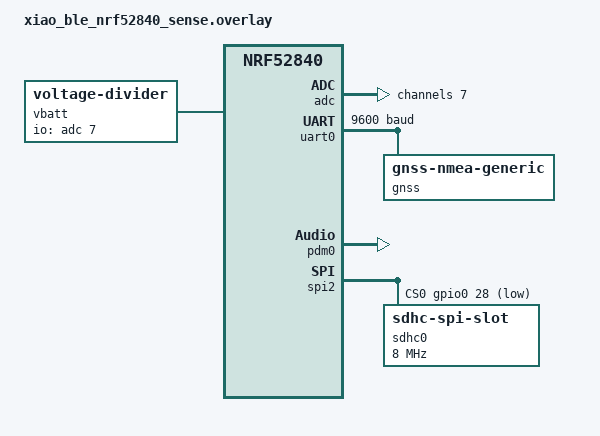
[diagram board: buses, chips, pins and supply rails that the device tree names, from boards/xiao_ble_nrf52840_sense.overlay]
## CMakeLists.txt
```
cmake_minimum_required(VERSION 3.20.0)
find_package(Zephyr REQUIRED HINTS $ENV{ZEPHYR_BASE})
project(comotion_tracker)

target_sources(app PRIVATE
  src/main.c
  src/gps.c
  src/audio.c
  src/sdcard.c
  src/battery.c
  src/intensity.c
  src/impact.c
  src/ble_adv.c
  src/device_id.c
)
```

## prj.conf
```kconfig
# CoMotion Tracker - Full Integrated Firmware (v2.0)
CONFIG_GPIO=y

# Logging
CONFIG_LOG=y
CONFIG_LOG_DEFAULT_LEVEL=3

# FPU (nRF52840 Cortex-M4F hardware FPU)
CONFIG_FPU=y

# IMU (LSM6DS3TR-C on I2C0, uses st,lsm6dsl driver)
CONFIG_I2C=y
CONFIG_SENSOR=y
CONFIG_LSM6DSL=y

# Float formatting for printk/snprintf (CSV output at 104 Hz)
CONFIG_CBPRINTF_FP_SUPPORT=y

# BLE
CONFIG_BT=y
CONFIG_BT_PERIPHERAL=y
CONFIG_BT_DEVICE_NAME="CoMotion"
CONFIG_BT_MAX_CONN=1

# Nordic UART Service
CONFIG_BT_NUS=y

# GPS (ATGM332D on UART0 via Zephyr GNSS framework)
CONFIG_SERIAL=y
CONFIG_GNSS=y

# PDM Microphone (onboard MSM261D3526HICPM-C via Zephyr DMIC API)
CONFIG_AUDIO=y
CONFIG_AUDIO_DMIC=y

# SD Card (external SPI, FAT filesystem)
CONFIG_SPI=y
CONFIG_DISK_ACCESS=y
CONFIG_DISK_DRIVER_SDMMC=y
CONFIG_FILE_SYSTEM=y
CONFIG_FAT_FILESYSTEM_ELM=y
CONFIG_FS_FATFS_LFN=y
CONFIG_FS_FATFS_LFN_MODE_HEAP=y

# Battery voltage monitor (voltage-divider sensor on AIN7)
CONFIG_ADC=y

# Stack sizes (main runs 104 Hz with snprintf CSV formatting)
CONFIG_MAIN_STACK_SIZE=8192

# Ring buffer for SD card logging
CONFIG_RING_BUFFER=y

# === BLE Range Optimization ===

# TX Power: +8 dBm (maximum for nRF52840, ~2.5x range improvement)
CONFIG_BT_CTLR_TX_PWR_PLUS_8=y

# Coded PHY (Long Range): ~4x range via forward error correction
CONFIG_BT_CTLR_PHY_CODED=y
CONFIG_BT_USER_PHY_UPDATE=y

# Extended advertising: dual adv sets (Coded PHY broadcast + 1M connectable)
CONFIG_BT_EXT_ADV=y
CONFIG_BT_CTLR_ADV_EXT=y
CONFIG_BT_EXT_ADV_MAX_ADV_SET=2
CONFIG_BT_CTLR_ADV_SET=2
CONFIG_BT_CTLR_ADV_DATA_LEN_MAX=64

# Data Length Extension: larger PDUs = better throughput per connection event
CONFIG_BT_CTLR_DATA_LENGTH_MAX=251
CONFIG_BT_BUF_ACL_TX_SIZE=251
CONFIG_BT_BUF_ACL_RX_SIZE=251
CONFIG_BT_L2CAP_TX_MTU=247
```

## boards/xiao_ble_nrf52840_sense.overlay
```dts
/* CoMotion Tracker — Full Integrated Firmware */

/* Battery voltage divider: VBATT → 1MΩ → P0.31 (AIN7) → 510KΩ → P0.14 */
/ {
	vbatt: vbatt {
		compatible = "voltage-divider";
		io-channels = <&adc 7>;
		output-ohms = <510000>;
		full-ohms = <(1000000 + 510000)>;
	};
};

&adc {
	#address-cells = <1>;
	#size-cells = <0>;

	channel@7 {
		reg = <7>;
		zephyr,gain = "ADC_GAIN_1_6";
		zephyr,reference = "ADC_REF_INTERNAL";
		zephyr,acquisition-time = <ADC_ACQ_TIME_DEFAULT>;
		zephyr,input-positive = <NRF_SAADC_AIN7>;
		zephyr,resolution = <12>;
	};
};

/* ATGM332D GPS on UART0 (P1.11 TX / P1.12 RX — already assigned by board) */
&uart0 {
	current-speed = <9600>;

	gnss: gnss-nmea-generic {
		compatible = "gnss-nmea-generic";
	};
};

/* PDM microphone: enable power regulator (P1.10) at boot */
/ {
	msm261d3526hicpm-c-en {
		regulator-boot-on;
	};
};

/* PDM microphone: enable peripheral (pinctrl already in board DTS) */
dmic_dev: &pdm0 {
	status = "okay";
};

/* SD Card on SPI2 (SCK=P1.13, MOSI=P1.15, MISO=P1.14), CS=P0.28 (XIAO D2) */
&spi2 {
	cs-gpios = <&gpio0 28 GPIO_ACTIVE_LOW>;

	sdhc0: sdhc@0 {
		compatible = "zephyr,sdhc-spi-slot";
		reg = <0>;
		status = "okay";
		spi-max-frequency = <8000000>;
		mmc {
			compatible = "zephyr,sdmmc-disk";
			disk-name = "SD";
			status = "okay";
		};
	};
};
```

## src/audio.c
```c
/*
 * CoMotion Tracker — Audio Processing Module
 *
 * Dedicated thread captures PDM audio in burst mode at ~10 Hz:
 *   1. Start PDM → read one 100ms block → stop PDM
 *   2. Compute RMS, peak, zero-crossing rate
 *   3. Adapt audio baseline (slow EMA of RMS, paused during impact)
 *   4. Feed impact detector (dual-trigger confirmation)
 *
 * Hardware: MSM261D3526HICPM-C on XIAO BLE Sense
 *   CLK = P1.00, DIN = P0.16, PWR = P1.10 (regulator-boot-on)
 *
 * Uses Zephyr DMIC API backed by nrfx PDM driver.
 */

#include <zephyr/kernel.h>
#include <zephyr/audio/dmic.h>
#include <zephyr/logging/log.h>
#include <math.h>

#include "audio.h"
#include "impact.h"

LOG_MODULE_REGISTER(audio, CONFIG_LOG_DEFAULT_LEVEL);

/* ─── PDM Configuration ─── */
#define SAMPLE_RATE      16000
#define SAMPLE_BITS      16
#define BYTES_PER_SAMPLE sizeof(int16_t)
#define NUM_CHANNELS     1

/* 100ms block = 1600 samples */
#define BLOCK_SIZE       (BYTES_PER_SAMPLE * (SAMPLE_RATE / 10) * NUM_CHANNELS)
#define BLOCK_COUNT      4

K_MEM_SLAB_DEFINE_STATIC(audio_mem_slab, BLOCK_SIZE, BLOCK_COUNT, 4);

/* ─── Baseline adaptation (spec section 3.3) ─── */
#define BASELINE_ALPHA   0.005f   /* slow adaptation rate */
#define BASELINE_INIT    500.0f   /* initial baseline RMS */

/* ─── Thread ─── */
#define AUDIO_STACK_SIZE 2048
#define AUDIO_PRIORITY   7        /* below main (which should be higher prio) */

K_THREAD_STACK_DEFINE(audio_stack, AUDIO_STACK_SIZE);
static struct k_thread audio_thread_data;

/* ─── State ─── */
static const struct device *dmic_dev;
static bool dmic_ready;

/* Latest audio data — written by audio thread, read by main thread */
static volatile struct audio_data latest_data;
static volatile float audio_baseline = BASELINE_INIT;

/* ─── PDM burst-mode helpers ─── */

static int pdm_configure(void)
{
	struct pcm_stream_cfg stream = {
		.pcm_rate   = SAMPLE_RATE,
		.pcm_width  = SAMPLE_BITS,
		.block_size = BLOCK_SIZE,
		.mem_slab   = &audio_mem_slab,
	};

	struct dmic_cfg cfg = {
		.io = {
			.min_pdm_clk_freq = 1000000,
			.max_pdm_clk_freq = 3500000,
			.min_pdm_clk_dc   = 40,
			.max_pdm_clk_dc   = 60,
		},
		.streams = &stream,
		.channel = {
			.req_num_streams = 1,
			.req_num_chan    = 1,
			.req_chan_map_lo =
				dmic_build_channel_map(0, 0, PDM_CHAN_LEFT),
			.req_chan_map_hi = 0,
		},
	};

	return dmic_configure(dmic_dev, &cfg);
}

/**
 * Burst-read one 100ms PDM block.
 * Returns a pointer to the sample buffer (caller must free to slab).
 */
static int pdm_burst_read(void **buf_out, uint32_t *size_out)
{
	int ret;

	/* Reconfigure before each burst (resets driver state cleanly) */
	ret = pdm_configure();
	if (ret < 0) {
		return ret;
	}

	/* Start capture */
	ret = dmic_trigger(dmic_dev, DMIC_TRIGGER_START);
	if (ret < 0) {
		return ret;
	}

	/* Read one block (~100ms) */
	ret = dmic_read(dmic_dev, 0, buf_out, size_out, 200);
	if (ret < 0) {
		dmic_trigger(dmic_dev, DMIC_TRIGGER_STOP);
		return ret;
	}

	/* Stop capture */
	dmic_trigger(dmic_dev, DMIC_TRIGGER_STOP);

	/* Drain any remaining queued buffers */
	void *extra;
	uint32_t extra_size;

	while (dmic_read(dmic_dev, 0, &extra, &extra_size, 0) == 0) {
		k_mem_slab_free(&audio_mem_slab, extra);
	}

	return 0;
}

/* ─── Audio processing ─── */

static void process_audio_block(int16_t *samples, uint32_t num_samples)
{
	int64_t sum_sq = 0;
	int16_t peak = 0;
	uint16_t zcr = 0;
	bool prev_positive = (samples[0] >= 0);

	for (uint32_t i = 0; i < num_samples; i++) {
		int16_t s = samples[i];
		int16_t abs_s = (s < 0) ? -s : s;

		sum_sq += (int32_t)s * (int32_t)s;

		if (abs_s > peak) {
			peak = abs_s;
		}

		/* Zero-crossing detection */
		bool positive = (s >= 0);

		if (i > 0 && positive != prev_positive) {
			zcr++;
		}
		prev_positive = positive;
	}

	/* RMS */
	float rms = sqrtf((float)sum_sq / (float)num_samples);

	/* Update latest data (atomic-ish — single struct write) */
	latest_data.rms = rms;
	latest_data.peak = (uint16_t)peak;
	latest_data.zcr = zcr;

	/* Audio impact check and baseline adaptation (spec section 3.2-3.3) */
	float baseline = audio_baseline;
	bool above_relative = ((float)peak > baseline * 8.0f);
	bool above_absolute = (peak > 3000);
	bool audio_impact = above_relative && above_absolute;

	/* Baseline adapts only when NOT in an impact event */
	if (!audio_impact) {
		audio_baseline = BASELINE_ALPHA * rms
			       + (1.0f - BASELINE_ALPHA) * baseline;
	}

	/* Feed the dual-trigger impact detector */
	impact_feed_audio((uint16_t)peak, baseline);
}

/* ─── Audio thread ─── */

static void audio_thread_fn(void *p1, void *p2, void *p3)
{
	ARG_UNUSED(p1);
	ARG_UNUSED(p2);
	ARG_UNUSED(p3);

	LOG_INF("Audio thread started (10 Hz burst-mode)");

	while (1) {
		if (!dmic_ready) {
			k_msleep(1000);
			continue;
		}

		void *buffer;
		uint32_t size;
		int ret = pdm_burst_read(&buffer, &size);

		if (ret == 0) {
			int16_t *samples = (int16_t *)buffer;
			uint32_t num_samples = size / BYTES_PER_SAMPLE;

			process_audio_block(samples, num_samples);
			k_mem_slab_free(&audio_mem_slab, buffer);
		} else {
			LOG_WRN("PDM burst read failed: %d", ret);
			k_msleep(100); /* back off on error */
		}

		/*
		 * No explicit sleep needed — the PDM burst read blocks
		 * for ~100ms, naturally pacing the thread at ~10 Hz.
		 */
	}
}

/* ─── Public API ─── */

int audio_init(void)
{
	dmic_dev = DEVICE_DT_GET(DT_NODELABEL(dmic_dev));
	if (!device_is_ready(dmic_dev)) {
		LOG_ERR("DMIC device not ready");
		return -ENODEV;
	}

	int ret = pdm_configure();

	if (ret < 0) {
		LOG_ERR("DMIC configure failed: %d", ret);
		return ret;
	}

	dmic_ready = true;
	LOG_INF("PDM mic ready: %u Hz %u-bit mono (burst mode)", SAMPLE_RATE,
		SAMPLE_BITS);

	/* Start the audio processing thread */
	k_thread_create(&audio_thread_data, audio_stack,
			K_THREAD_STACK_SIZEOF(audio_stack),
			audio_thread_fn, NULL, NULL, NULL,
			AUDIO_PRIORITY, 0, K_NO_WAIT);
	k_thread_name_set(&audio_thread_data, "audio");

	return 0;
}

void audio_get_data(struct audio_data *out)
{
	/* Simple copy — struct is small, reads are effectively atomic */
	out->rms = latest_data.rms;
	out->peak = latest_data.peak;
	out->zcr = latest_data.zcr;
}

float audio_get_baseline(void)
{
	return audio_baseline;
}
```

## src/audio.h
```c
/*
 * CoMotion Tracker — Audio Processing Module
 *
 * Replaces pdm_mic module. Adds a dedicated processing thread at 10 Hz,
 * baseline adaptation for impact detection, and zero-crossing rate.
 *
 * Uses burst-mode PDM capture (proven reliable on this hardware).
 */

#ifndef AUDIO_H
#define AUDIO_H

#include <stdint.h>

/** Audio metrics from one 100ms capture window */
struct audio_data {
	float    rms;        /* RMS amplitude (float, from int16 samples) */
	uint16_t peak;       /* Peak absolute sample value (0–32767) */
	uint16_t zcr;        /* Zero crossing count in the window */
};

/**
 * Initialize PDM hardware and start the audio processing thread.
 * The thread runs at ~10 Hz using burst-mode PDM capture.
 *
 * @return 0 on success, negative errno on failure
 */
int audio_init(void);

/**
 * Get a snapshot of the latest audio data.
 * Thread-safe (atomic copy).
 *
 * @param[out] out  Destination for audio metrics
 */
void audio_get_data(struct audio_data *out);

/**
 * Get the current audio baseline (slowly-adapted RMS).
 * Used for impact detection threshold calculation.
 */
float audio_get_baseline(void);

#endif /* AUDIO_H */
```

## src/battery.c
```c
/*
 * CoMotion Tracker — Battery Voltage Monitor
 *
 * Hardware: LiPo battery through voltage divider to AIN7 (P0.31).
 *   R_upper = 1 MΩ (VBATT to AIN7)
 *   R_lower = 510 KΩ (AIN7 to P0.14)
 *   P0.14 driven LOW enables the divider.
 *
 * Uses Zephyr voltage-divider sensor driver which handles:
 *   - ADC channel setup (gain 1/6, internal ref 0.6V, 12-bit)
 *   - Raw-to-millivolt conversion
 *   - Divider ratio scaling (full_ohms / output_ohms)
 */

#include <zephyr/kernel.h>
#include <zephyr/device.h>
#include <zephyr/devicetree.h>
#include <zephyr/drivers/sensor.h>
#include <zephyr/drivers/gpio.h>
#include <zephyr/logging/log.h>

#include "battery.h"

LOG_MODULE_REGISTER(battery, CONFIG_LOG_DEFAULT_LEVEL);

/* Voltage divider sensor from DTS */
static const struct device *vbatt_dev = DEVICE_DT_GET(DT_NODELABEL(vbatt));

/* P0.14 enables the voltage divider (drive LOW to enable) */
static const struct device *gpio0_dev = DEVICE_DT_GET(DT_NODELABEL(gpio0));
#define VBATT_EN_PIN 14

/* Last sampled value */
static int last_mv;

int battery_init(void)
{
	int ret;

	/* Enable voltage divider: P0.14 output LOW */
	if (!device_is_ready(gpio0_dev)) {
		LOG_ERR("GPIO0 device not ready");
		return -ENODEV;
	}

	ret = gpio_pin_configure(gpio0_dev, VBATT_EN_PIN, GPIO_OUTPUT_LOW);
	if (ret) {
		LOG_ERR("Failed to configure VBATT enable pin: %d", ret);
		return ret;
	}

	/* Small delay for divider to settle */
	k_msleep(1);

	/* Verify voltage-divider sensor is ready */
	if (!device_is_ready(vbatt_dev)) {
		LOG_ERR("Battery sensor not ready");
		return -ENODEV;
	}

	/* Take an initial sample */
	ret = battery_sample();
	if (ret) {
		LOG_WRN("Initial battery sample failed: %d", ret);
	} else {
		LOG_INF("Battery: %d mV (%d%%)", last_mv, battery_level_pct());
	}

	return 0;
}

int battery_sample(void)
{
	struct sensor_value val;
	int ret;

	ret = sensor_sample_fetch(vbatt_dev);
	if (ret) {
		LOG_ERR("Battery fetch failed: %d", ret);
		return ret;
	}

	ret = sensor_channel_get(vbatt_dev, SENSOR_CHAN_VOLTAGE, &val);
	if (ret) {
		LOG_ERR("Battery channel get failed: %d", ret);
		return ret;
	}

	/* sensor_value: val1 = integer volts, val2 = fractional microvolts */
	last_mv = val.val1 * 1000 + val.val2 / 1000;

	return 0;
}

int battery_millivolts(void)
{
	return last_mv;
}

int battery_level_pct(void)
{
	/* Linear mapping for LiPo (spec: 3.3V=0%, 4.2V=100%):
	 *   4200 mV = 100%
	 *   3300 mV = 0%
	 */
	int pct = (last_mv - 3300) * 100 / (4200 - 3300);

	if (pct < 0) {
		pct = 0;
	}
	if (pct > 100) {
		pct = 100;
	}

	return pct;
}
```

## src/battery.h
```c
/*
 * CoMotion Tracker — Battery Voltage Monitor
 *
 * Reads LiPo battery voltage via voltage divider on AIN7 (P0.31).
 * P0.14 enables the divider (drive LOW).
 * Uses Zephyr voltage-divider sensor driver.
 */

#ifndef BATTERY_H
#define BATTERY_H

/**
 * Initialize battery monitor: enable voltage divider, verify sensor.
 *
 * @return 0 on success, negative errno on failure
 */
int battery_init(void);

/**
 * Take a battery voltage sample (blocks briefly for ADC).
 *
 * @return 0 on success, negative errno on failure
 */
int battery_sample(void);

/**
 * Get the last sampled battery voltage in millivolts.
 * Call battery_sample() first.
 */
int battery_millivolts(void);

/**
 * Get estimated battery level as 0–100%.
 * Simple linear mapping: 3000 mV = 0%, 4200 mV = 100%.
 * Call battery_sample() first.
 */
int battery_level_pct(void);

#endif /* BATTERY_H */
```

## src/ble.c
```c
/*
 * ═══════════════════════════════════════════════════════════════
 * CoMotion Tracker — BLE (Dual Advertising + NUS)
 *
 * Two simultaneous advertising sets:
 *   1. Legacy 1M PHY   — connectable, for NUS commands
 *   2. Coded PHY (S8)  — non-connectable, long range data
 *
 * Both carry the same 20-byte manufacturer data payload.
 * TX power: +8 dBm (via CONFIG_BT_CTLR_TX_PWR_PLUS_8)
 * ═══════════════════════════════════════════════════════════════
 */

#include <zephyr/bluetooth/bluetooth.h>
#include <zephyr/bluetooth/conn.h>
#include <zephyr/bluetooth/gatt.h>
#include <zephyr/bluetooth/uuid.h>
#include <bluetooth/services/nus.h>
#include <zephyr/logging/log.h>
#include <math.h>

#include "common.h"
#include "ble.h"
#include "intensity.h"

LOG_MODULE_REGISTER(ble, LOG_LEVEL_INF);

/* Forward declaration */
extern void process_command(const char *cmd);

/* ─── State ─── */
static struct bt_le_ext_adv *adv_legacy;
static struct bt_le_ext_adv *adv_coded;
static struct bt_conn *current_conn;
static bool ble_connected;
static int64_t impact_flag_time;

/* ─── Manufacturer data: 2 bytes company ID + 27 bytes payload (v2.1) ─── */
static uint8_t mfg_data[29];

/* ─── Advertising data arrays ─── */
static struct bt_data ad_legacy[] = {
	BT_DATA_BYTES(BT_DATA_FLAGS, (BT_LE_AD_GENERAL | BT_LE_AD_NO_BREDR)),
	BT_DATA(BT_DATA_MANUFACTURER_DATA, mfg_data, sizeof(mfg_data)),
};

static struct bt_data ad_coded[] = {
	BT_DATA_BYTES(BT_DATA_FLAGS, (BT_LE_AD_GENERAL | BT_LE_AD_NO_BREDR)),
	BT_DATA(BT_DATA_MANUFACTURER_DATA, mfg_data, sizeof(mfg_data)),
};

static struct bt_data sd_data[] = {
	BT_DATA(BT_DATA_NAME_COMPLETE, DEVICE_NAME, sizeof(DEVICE_NAME) - 1),
};

/* ═══════════════════════════════════════════════════════════════
 * Connection Callbacks
 * ═══════════════════════════════════════════════════════════════ */

static void connected_cb(struct bt_conn *conn, uint8_t err)
{
	if (err) {
		LOG_ERR("[BLE] Connection failed: 0x%02x", err);
		return;
	}
	char addr[BT_ADDR_LE_STR_LEN];
	bt_addr_le_to_str(bt_conn_get_dst(conn), addr, sizeof(addr));
	LOG_INF("[BLE] Connected: %s", addr);
	current_conn = bt_conn_ref(conn);
	ble_connected = true;
}

static void disconnected_cb(struct bt_conn *conn, uint8_t reason)
{
	LOG_INF("[BLE] Disconnected: 0x%02x", reason);
	if (current_conn) {
		bt_conn_unref(current_conn);
		current_conn = NULL;
	}
	ble_connected = false;

	/* Restart legacy advertising after disconnect */
	int err = bt_le_ext_adv_start(adv_legacy, BT_LE_EXT_ADV_START_DEFAULT);
	if (err) {
		LOG_ERR("[BLE] Failed to restart legacy adv: %d", err);
	}
}

BT_CONN_CB_DEFINE(conn_callbacks) = {
	.connected = connected_cb,
	.disconnected = disconnected_cb,
};

/* ═══════════════════════════════════════════════════════════════
 * NUS Callbacks
 * ═══════════════════════════════════════════════════════════════ */

static void nus_received_cb(struct bt_conn *conn, const uint8_t *data,
			     uint16_t len)
{
	char cmd[128];
	int copy_len = MIN(len, sizeof(cmd) - 1);
	memcpy(cmd, data, copy_len);
	cmd[copy_len] = '\0';

	/* Trim trailing whitespace */
	while (copy_len > 0 &&
	       (cmd[copy_len - 1] == '\n' || cmd[copy_len - 1] == '\r' ||
		cmd[copy_len - 1] == ' ')) {
		cmd[--copy_len] = '\0';
	}

	process_command(cmd);
}

static struct bt_nus_cb nus_cb = {
	.received = nus_received_cb,
};

/* ═══════════════════════════════════════════════════════════════
 * Advertising Setup
 * ═══════════════════════════════════════════════════════════════ */

static int create_legacy_adv(void)
{
	int err;
	struct bt_le_adv_param param = BT_LE_ADV_PARAM_INIT(
		BT_LE_ADV_OPT_CONNECTABLE | BT_LE_ADV_OPT_EXT_ADV,
		800, 800, /* 500ms interval (800 × 0.625ms) */
		NULL);

	err = bt_le_ext_adv_create(&param, NULL, &adv_legacy);
	if (err) {
		LOG_ERR("Failed to create legacy adv set: %d", err);
		return err;
	}

	err = bt_le_ext_adv_set_data(adv_legacy, ad_legacy, ARRAY_SIZE(ad_legacy),
				     sd_data, ARRAY_SIZE(sd_data));
	if (err) {
		LOG_ERR("Failed to set legacy adv data: %d", err);
		return err;
	}

	return 0;
}

static int create_coded_adv(void)
{
	int err;
	struct bt_le_adv_param param = BT_LE_ADV_PARAM_INIT(
		BT_LE_ADV_OPT_EXT_ADV | BT_LE_ADV_OPT_CODED,
		800, 800, /* 500ms interval */
		NULL);

	err = bt_le_ext_adv_create(&param, NULL, &adv_coded);
	if (err) {
		LOG_ERR("Failed to create coded adv set: %d", err);
		return err;
	}

	err = bt_le_ext_adv_set_data(adv_coded, ad_coded, ARRAY_SIZE(ad_coded),
				     NULL, 0);
	if (err) {
		LOG_ERR("Failed to set coded adv data: %d", err);
		return err;
	}

	return 0;
}

/* ═══════════════════════════════════════════════════════════════
 * Public API
 * ═══════════════════════════════════════════════════════════════ */

int ble_init(void)
{
	int err;

	/* Initialize manufacturer data company ID (0xFFFF LE) */
	mfg_data[0] = BLE_MANUFACTURER_ID & 0xFF;
	mfg_data[1] = (BLE_MANUFACTURER_ID >> 8) & 0xFF;

	err = bt_enable(NULL);
	if (err) {
		LOG_ERR("bt_enable failed: %d", err);
		return err;
	}

	/* NUS service */
	err = bt_nus_init(&nus_cb);
	if (err) {
		LOG_ERR("bt_nus_init failed: %d", err);
		return err;
	}

	/* Create both advertising sets */
	err = create_legacy_adv();
	if (err) return err;

	err = create_coded_adv();
	if (err) return err;

	/* Start both */
	err = bt_le_ext_adv_start(adv_legacy, BT_LE_EXT_ADV_START_DEFAULT);
	if (err) {
		LOG_ERR("Failed to start legacy adv: %d", err);
		return err;
	}
	LOG_INF("[BLE] Legacy 1M advertising started");

	err = bt_le_ext_adv_start(adv_coded, BT_LE_EXT_ADV_START_DEFAULT);
	if (err) {
		LOG_ERR("Failed to start coded adv: %d", err);
		return err;
	}
	LOG_INF("[BLE] Coded PHY (S8) advertising started");

	return 0;
}

bool ble_is_connected(void)
{
	return ble_connected;
}

void ble_send(const char *msg)
{
	if (!current_conn) return;

	int len = strlen(msg);
	int offset = 0;

	while (offset < len) {
		int chunk = MIN(20, len - offset);
		bt_nus_send(current_conn, (const uint8_t *)(msg + offset), chunk);
		offset += chunk;
		k_msleep(5);
	}
	bt_nus_send(current_conn, (const uint8_t *)"\n", 1);
}

void ble_send_raw(const uint8_t *data, uint16_t len)
{
	if (!current_conn) return;

	/* Send in MTU-sized chunks (default 20 if MTU not negotiated) */
	uint16_t offset = 0;
	while (offset < len) {
		uint16_t chunk = MIN(240, len - offset);
		bt_nus_send(current_conn, data + offset, chunk);
		offset += chunk;
		if (offset < len) k_msleep(2);
	}
}

void ble_set_impact_flag(void)
{
	impact_flag_time = k_uptime_get();
	if (g_impact_count < 255) {
		g_impact_count++;
	}
}

void ble_update_advertising(void)
{
	int64_t now = k_uptime_get();
	uint8_t *d = &mfg_data[2]; /* Skip 2-byte company ID */

	/* Impact flag auto-clear */
	bool impact_active = (impact_flag_time > 0) &&
			     (now - impact_flag_time < IMPACT_FLAG_DURATION_MS);

	/* Status flags */
	uint8_t flags = 0;
	if (g_is_logging)                                 flags |= STATUS_FLAG_LOGGING;
	if (g_gps.valid && g_gps.satellites >= 4)         flags |= STATUS_FLAG_GPS_FIX;
	if (g_battery_voltage > 0 && g_battery_voltage < 3.3f)
		flags |= STATUS_FLAG_LOW_BATTERY;
	if (impact_active)                                flags |= STATUS_FLAG_IMPACT;
	if (ble_connected)                                flags |= STATUS_FLAG_BLE_CONN;

	float batt_pct = CLAMP((g_battery_voltage - 3.3f) / 0.9f * 100.0f, 0, 100);
	uint8_t intensity_now = (uint8_t)CLAMP((int)(intensity_get_current() * 100), 0, 255);
	uint8_t intensity_1m  = (uint8_t)CLAMP((int)(intensity_get_1min() * 100), 0, 255);
	uint16_t intensity_10m = (uint16_t)CLAMP(
		(int)(intensity_get_10min_avg() * 1000), 0, 65535);

	/* Speed at 0.5 km/h resolution: byte = speed × 2 */
	uint8_t speed_now = (uint8_t)CLAMP((int)(g_gps.speed * 2.0f), 0, 255);
	uint8_t speed_max = (uint8_t)CLAMP((int)(g_max_speed_session * 2.0f), 0, 255);

	uint8_t gps_age = (uint8_t)CLAMP(
		(int)((now - g_gps.last_update) / 1000), 0, 15);
	uint8_t gps_sats = (uint8_t)CLAMP(g_gps.satellites, 0, 15);
	uint8_t gps_status = (gps_age << 4) | gps_sats;

	uint16_t session_sec = 0;
	if (g_is_logging) {
		session_sec = (uint16_t)CLAMP(
			(int)((now - g_log_start_time) / 1000), 0, 65535);
	}

	uint8_t audio_peak_scaled = (uint8_t)CLAMP(g_audio_peak / 128, 0, 255);

	/* Pack 20-byte payload (same format as Arduino firmware) */
	d[0]  = flags;
	d[1]  = (uint8_t)batt_pct;
	d[2]  = intensity_now;
	d[3]  = intensity_1m;
	d[4]  = intensity_10m & 0xFF;
	d[5]  = (intensity_10m >> 8) & 0xFF;
	d[6]  = speed_now;
	d[7]  = speed_max;
	d[8]  = g_impact_count;
	d[9]  = gps_status;
	d[10] = g_move_count & 0xFF;
	d[11] = (g_move_count >> 8) & 0xFF;
	d[12] = session_sec & 0xFF;
	d[13] = (session_sec >> 8) & 0xFF;
	d[14] = audio_peak_scaled;

	/* GPS position: int32 absolute × 10^7 (v2.1 format) */
	if (g_gps.valid) {
		int32_t lat_i32 = (int32_t)(g_gps.latitude * 10000000.0);
		int32_t lng_i32 = (int32_t)(g_gps.longitude * 10000000.0);
		d[15] = lat_i32 & 0xFF;
		d[16] = (lat_i32 >> 8) & 0xFF;
		d[17] = (lat_i32 >> 16) & 0xFF;
		d[18] = (lat_i32 >> 24) & 0xFF;
		d[19] = lng_i32 & 0xFF;
		d[20] = (lng_i32 >> 8) & 0xFF;
		d[21] = (lng_i32 >> 16) & 0xFF;
		d[22] = (lng_i32 >> 24) & 0xFF;
	} else {
		/* Sentinel: 0x7FFFFFFF = no position */
		d[15] = 0xFF; d[16] = 0xFF; d[17] = 0xFF; d[18] = 0x7F;
		d[19] = 0xFF; d[20] = 0xFF; d[21] = 0xFF; d[22] = 0x7F;
	}

	/* Bearing (byte 23): course / 2, so 0–180 maps to 0°–360° */
	d[23] = g_gps.valid ? (uint8_t)CLAMP((int)(g_gps.course / 2.0f), 0, 180) : 0;

	/* HDOP (byte 24): HDOP × 10 (0 = unknown) */
	d[24] = 0; /* TODO: parse HDOP from NMEA when available */

	/* Fix quality (byte 25): satellites in upper nibble, fix type in lower */
	d[25] = g_gps.valid
		? (uint8_t)(((CLAMP(g_gps.satellites, 0, 15) & 0x0F) << 4) | 0x01)
		: 0;

	/* Reserved (byte 26) */
	d[26] = 0;

	/* Update both advertising sets — no stop/start needed! */
	bt_le_ext_adv_set_data(adv_legacy, ad_legacy, ARRAY_SIZE(ad_legacy),
			       sd_data, ARRAY_SIZE(sd_data));
	bt_le_ext_adv_set_data(adv_coded, ad_coded, ARRAY_SIZE(ad_coded),
			       NULL, 0);
}
```

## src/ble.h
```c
/*
 * ═══════════════════════════════════════════════════════════════
 * CoMotion Tracker — BLE (Dual Advertising + NUS)
 * ═══════════════════════════════════════════════════════════════
 */
#ifndef COMOTION_BLE_H
#define COMOTION_BLE_H

#include "common.h"

int  ble_init(void);
void ble_update_advertising(void);
void ble_send(const char *msg);
void ble_send_raw(const uint8_t *data, uint16_t len);
void ble_set_impact_flag(void);
bool ble_is_connected(void);

#endif
```

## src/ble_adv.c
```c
/*
 * CoMotion Tracker — BLE Advertising Module (Coded PHY)
 *
 * Dual-advertising architecture for maximum range on a hockey field:
 *
 *   Set 1 — BROADCAST (Coded PHY, non-connectable)
 *     • 27-byte manufacturer data with live telemetry
 *     • Always running, even during a connection
 *     • Coded PHY S=8 for ~4× range over 1M PHY
 *     • Updated at 5 Hz (normal) or ~20 Hz (focus)
 *
 *   Set 2 — CONNECTABLE (1M PHY)
 *     • Advertises NUS UUID so phones can connect for commands
 *     • Stops when a connection is active, restarts on disconnect
 *     • 1M PHY so any phone can discover and connect
 *
 * The broadcast set never stops — the sideline phone always sees
 * live data even at 40m+, regardless of connection state.
 */

#include <zephyr/kernel.h>
#include <zephyr/bluetooth/bluetooth.h>
#include <zephyr/bluetooth/gap.h>
#include <zephyr/bluetooth/conn.h>
#include <bluetooth/services/nus.h>
#include <zephyr/logging/log.h>
#include <string.h>
#include <stdio.h>

#include "ble_adv.h"
#include "device_id.h"

LOG_MODULE_REGISTER(ble_adv, CONFIG_LOG_DEFAULT_LEVEL);

/* ─── Constants ─── */
#define MFG_ID_LOW              0xFF
#define MFG_ID_HIGH             0xFF
#define ADV_INTERVAL_NORMAL     320     /* 200ms in 0.625ms units */
#define ADV_INTERVAL_FOCUS      80      /* 50ms in 0.625ms units */
#define CONN_ADV_INTERVAL       800     /* 500ms for connectable set */
#define FOCUS_TIMEOUT_MS        60000

/* ─── Manufacturer data: 2-byte company ID + 27-byte payload ─── */
static uint8_t mfg_data[2 + sizeof(struct ble_packet)];

/* ─── Dynamic BLE name: "CoMotion-XXXX" (max 14 chars + NUL) ─── */
static char ble_name[16] = "CoMotion";
static uint8_t ble_name_len = 8;

/* ─── Extended advertising sets ─── */
static struct bt_le_ext_adv *bcast_adv;   /* Coded PHY broadcast */
static struct bt_le_ext_adv *conn_adv;    /* 1M connectable for NUS */
static bool bcast_running;                /* true when broadcast set is active */

/* ─── Broadcast advertising data (Coded PHY, non-connectable) ─── */
/* No Flags — Flags SHALL NOT be present in non-connectable extended
 * advertising (BT Core Spec Vol 3, Part C, §11.1.3).
 * Device name IS included so the app can identify CoMotion broadcasts.
 * Name data/len patched at init time with device ID suffix.
 */
static struct bt_data bcast_ad[] = {
	BT_DATA(BT_DATA_NAME_COMPLETE, ble_name, 8),
	BT_DATA(BT_DATA_MANUFACTURER_DATA, mfg_data, sizeof(mfg_data)),
};

/* ─── Connectable advertising data (1M PHY) ─── */
static struct bt_data conn_ad_data[] = {
	BT_DATA_BYTES(BT_DATA_FLAGS,
		      (BT_LE_AD_GENERAL | BT_LE_AD_NO_BREDR)),
	BT_DATA(BT_DATA_NAME_COMPLETE, ble_name, 8),
	BT_DATA_BYTES(BT_DATA_UUID128_ALL, BT_UUID_NUS_VAL),
};

/* ─── Connection state ─── */
static struct bt_conn *current_conn;
static bool connected;

/* ─── Focus mode ─── */
static bool focus_active;
static int64_t focus_expire_time;

/* ─── Track connectable advertising state ─── */
static bool conn_adv_started;

/* ─── Deferred connectable advertising restart ─── */
static void conn_adv_restart_handler(struct k_work *work);
static K_WORK_DELAYABLE_DEFINE(conn_adv_restart_work, conn_adv_restart_handler);

static void conn_adv_restart_handler(struct k_work *work)
{
	ARG_UNUSED(work);

	if (connected) {
		return;
	}

	int ret = bt_le_ext_adv_start(conn_adv, BT_LE_EXT_ADV_START_DEFAULT);

	if (ret == 0 || ret == -EALREADY) {
		conn_adv_started = true;
		LOG_INF("BLE: connectable adv restarted");
	} else {
		LOG_WRN("BLE: connectable adv restart failed: %d, "
			"retrying in 1s", ret);
		k_work_schedule(&conn_adv_restart_work, K_SECONDS(1));
	}
}

/* ─── BLE Connection Callbacks ─── */

static void on_connected(struct bt_conn *conn, uint8_t err)
{
	if (err) {
		LOG_ERR("BLE: connection failed (err %u)", err);
		return;
	}

	current_conn = bt_conn_ref(conn);
	connected = true;
	conn_adv_started = false;
	LOG_INF("BLE: connected");

	/* Request optimized connection parameters:
	 * 30-50ms interval, 0 latency, 5s supervision timeout
	 */
	static const struct bt_le_conn_param conn_param =
		BT_LE_CONN_PARAM_INIT(24, 40, 0, 500);
	int ret = bt_conn_le_param_update(conn, &conn_param);

	if (ret && ret != -EALREADY) {
		LOG_WRN("BLE: conn param update failed: %d", ret);
	}

	/* Request Coded PHY for the connection too */
	static const struct bt_conn_le_phy_param phy_param = {
		.options = BT_CONN_LE_PHY_OPT_CODED_S8,
		.pref_tx_phy = BT_GAP_LE_PHY_CODED,
		.pref_rx_phy = BT_GAP_LE_PHY_CODED,
	};

	ret = bt_conn_le_phy_update(conn, &phy_param);
	if (ret && ret != -EALREADY) {
		LOG_WRN("BLE: PHY update failed: %d", ret);
	}

	/* Note: broadcast adv set keeps running — no interruption */
}

static void on_disconnected(struct bt_conn *conn, uint8_t reason)
{
	LOG_INF("BLE: disconnected (reason %u)", reason);
	connected = false;

	if (current_conn) {
		bt_conn_unref(current_conn);
		current_conn = NULL;
	}

	/* Restart connectable advertising after a short delay */
	k_work_schedule(&conn_adv_restart_work, K_MSEC(100));
}

static void on_phy_updated(struct bt_conn *conn,
			   struct bt_conn_le_phy_info *param)
{
	const char *tx_name, *rx_name;

	switch (param->tx_phy) {
	case BT_GAP_LE_PHY_1M:    tx_name = "1M"; break;
	case BT_GAP_LE_PHY_2M:    tx_name = "2M"; break;
	case BT_GAP_LE_PHY_CODED: tx_name = "Coded"; break;
	default:                   tx_name = "?"; break;
	}

	switch (param->rx_phy) {
	case BT_GAP_LE_PHY_1M:    rx_name = "1M"; break;
	case BT_GAP_LE_PHY_2M:    rx_name = "2M"; break;
	case BT_GAP_LE_PHY_CODED: rx_name = "Coded"; break;
	default:                   rx_name = "?"; break;
	}

	LOG_INF("BLE: PHY updated -> TX:%s RX:%s", tx_name, rx_name);
}

BT_CONN_CB_DEFINE(conn_cbs) = {
	.connected        = on_connected,
	.disconnected     = on_disconnected,
	.le_phy_updated   = on_phy_updated,
};

/* ─── Broadcast interval update (for focus mode) ─── */

static int update_broadcast_interval(uint16_t interval)
{
	int ret;

	/* Must stop → reconfigure → restart to change interval */
	bt_le_ext_adv_stop(bcast_adv);
	bcast_running = false;

	struct bt_le_adv_param param = BT_LE_ADV_PARAM_INIT(
		BT_LE_ADV_OPT_EXT_ADV | BT_LE_ADV_OPT_CODED | BT_LE_ADV_OPT_USE_IDENTITY,
		interval, interval, NULL);

	ret = bt_le_ext_adv_update_param(bcast_adv, &param);
	if (ret) {
		LOG_ERR("BLE: broadcast param update failed: %d", ret);
		/* Fall through — try to restart with old params rather
		 * than leaving the broadcast permanently stopped.
		 */
	}

	/* Retry start up to 3 times — radio may be busy with other set */
	for (int attempt = 0; attempt < 3; attempt++) {
		ret = bt_le_ext_adv_start(bcast_adv,
					  BT_LE_EXT_ADV_START_DEFAULT);
		if (ret == 0 || ret == -EALREADY) {
			bcast_running = true;
			return 0;
		}
		LOG_WRN("BLE: broadcast restart attempt %d/3 failed: %d",
			attempt + 1, ret);
		k_msleep(10);
	}

	LOG_ERR("BLE: broadcast restart FAILED — will recover on next update");
	return ret;
}

/* ─── Public API ─── */

int ble_adv_init(void (*rx_cb)(struct bt_conn *, const uint8_t *, uint16_t))
{
	int ret;

	/* Initialize manufacturer data with company ID */
	mfg_data[0] = MFG_ID_LOW;
	mfg_data[1] = MFG_ID_HIGH;
	memset(&mfg_data[2], 0, sizeof(struct ble_packet));

	/* Build dynamic BLE name: "CoMotion-XXXX" using device ID */
	snprintf(ble_name, sizeof(ble_name), "CoMotion-%s", device_id_short());
	ble_name_len = strlen(ble_name);

	/* Patch advertising data structs with actual name length */
	bcast_ad[0].data_len = ble_name_len;
	conn_ad_data[1].data_len = ble_name_len;

	/* Also set the GAP device name so connected clients see it */
	bt_set_name(ble_name);

	LOG_INF("BLE name: %s", ble_name);

	/* Enable Bluetooth */
	ret = bt_enable(NULL);
	if (ret) {
		LOG_ERR("BLE: bt_enable failed: %d", ret);
		return ret;
	}

	/* Initialize NUS */
	static struct bt_nus_cb nus_cbs;

	nus_cbs.received = rx_cb;
	nus_cbs.send_enabled = NULL;

	ret = bt_nus_init(&nus_cbs);
	if (ret) {
		LOG_ERR("BLE: NUS init failed: %d", ret);
		return ret;
	}

	/* ─── Set 1: Coded PHY broadcast (non-connectable, always on) ─── */
	struct bt_le_adv_param bcast_param = BT_LE_ADV_PARAM_INIT(
		BT_LE_ADV_OPT_EXT_ADV | BT_LE_ADV_OPT_CODED | BT_LE_ADV_OPT_USE_IDENTITY,
		ADV_INTERVAL_NORMAL, ADV_INTERVAL_NORMAL, NULL);

	ret = bt_le_ext_adv_create(&bcast_param, NULL, &bcast_adv);
	if (ret) {
		LOG_ERR("BLE: broadcast adv create failed: %d", ret);
		return ret;
	}

	ret = bt_le_ext_adv_set_data(bcast_adv,
				     bcast_ad, ARRAY_SIZE(bcast_ad),
				     NULL, 0);
	if (ret) {
		LOG_ERR("BLE: broadcast set data failed: %d", ret);
		return ret;
	}

	ret = bt_le_ext_adv_start(bcast_adv, BT_LE_EXT_ADV_START_DEFAULT);
	if (ret) {
		LOG_ERR("BLE: broadcast start failed: %d", ret);
		return ret;
	}
	bcast_running = true;

	LOG_INF("BLE: broadcast started (Coded PHY, 200ms)");

	/* ─── Set 2: 1M connectable (for NUS commands) ─── */
	struct bt_le_adv_param conn_param = BT_LE_ADV_PARAM_INIT(
		BT_LE_ADV_OPT_CONN | BT_LE_ADV_OPT_EXT_ADV | BT_LE_ADV_OPT_USE_IDENTITY,
		CONN_ADV_INTERVAL, CONN_ADV_INTERVAL, NULL);

	ret = bt_le_ext_adv_create(&conn_param, NULL, &conn_adv);
	if (ret) {
		LOG_ERR("BLE: connectable adv create failed: %d", ret);
		return ret;
	}

	ret = bt_le_ext_adv_set_data(conn_adv,
				     conn_ad_data, ARRAY_SIZE(conn_ad_data),
				     NULL, 0);
	if (ret) {
		LOG_ERR("BLE: connectable set data failed: %d", ret);
		return ret;
	}

	ret = bt_le_ext_adv_start(conn_adv, BT_LE_EXT_ADV_START_DEFAULT);
	if (ret) {
		LOG_ERR("BLE: connectable start failed: %d", ret);
		return ret;
	}
	conn_adv_started = true;

	LOG_INF("BLE: connectable started (1M PHY, NUS)");
	LOG_INF("BLE: advertising as \"%s\"", CONFIG_BT_DEVICE_NAME);

	return 0;
}

void ble_adv_update(const struct ble_packet *pkt)
{
	/* Check focus mode expiry */
	if (focus_active && k_uptime_get() >= focus_expire_time) {
		LOG_INF("BLE: focus mode expired -> normal");
		focus_active = false;
		update_broadcast_interval(ADV_INTERVAL_NORMAL);
	}

	/* If broadcast died (e.g. failed restart), try to recover */
	if (!bcast_running) {
		int rc = bt_le_ext_adv_start(bcast_adv,
					     BT_LE_EXT_ADV_START_DEFAULT);
		if (rc == 0 || rc == -EALREADY) {
			bcast_running = true;
			LOG_INF("BLE: broadcast recovered");
		}
	}

	/* Copy packet into manufacturer data (after the 2-byte company ID) */
	memcpy(&mfg_data[2], pkt, sizeof(struct ble_packet));

	/* Push updated data to the controller */
	int ret = bt_le_ext_adv_set_data(bcast_adv,
					 bcast_ad, ARRAY_SIZE(bcast_ad),
					 NULL, 0);
	if (ret == -EAGAIN) {
		/* Controller mid-TX — data is in mfg_data and will be
		 * picked up on the next call (~200ms later at worst).
		 */
	} else if (ret) {
		LOG_WRN("BLE: set_data failed: %d — marking for recovery", ret);
		bcast_running = false;
	}
}

void ble_adv_set_focus(bool enable)
{
	if (enable) {
		focus_active = true;
		focus_expire_time = k_uptime_get() + FOCUS_TIMEOUT_MS;
		LOG_INF("BLE: focus mode ON (60s)");
		update_broadcast_interval(ADV_INTERVAL_FOCUS);
	} else {
		focus_active = false;
		LOG_INF("BLE: normal mode");
		update_broadcast_interval(ADV_INTERVAL_NORMAL);
	}
}

bool ble_adv_is_focus(void)
{
	return focus_active;
}

bool ble_adv_is_connected(void)
{
	return connected;
}

struct bt_conn *ble_adv_get_conn(void)
{
	return current_conn;
}

void ble_adv_nus_send(const char *msg)
{
	if (!connected || !current_conn) {
		return;
	}

	/* Send message + newline terminator so app can detect line boundaries */
	char buf[258];
	int len = snprintf(buf, sizeof(buf), "%s\n", msg);
	if (len <= 0 || len >= (int)sizeof(buf)) {
		return;
	}
	int off = 0;

	while (off < len) {
		int chunk = MIN(240, len - off);
		int ret = -ENOMEM;

		/* Retry up to 3 times on TX buffer full (-ENOMEM) */
		for (int attempt = 0; attempt < 3; attempt++) {
			ret = bt_nus_send(current_conn,
					  (const uint8_t *)buf + off, chunk);
			if (ret != -ENOMEM) {
				break;
			}
			k_msleep(10);
		}

		if (ret) {
			LOG_WRN("NUS send failed: %d (dropped %d/%d bytes)",
				ret, len - off, len);
			return;
		}
		off += chunk;
		if (off < len) {
			k_msleep(5);
		}
	}
}

void ble_adv_nus_send_raw(const uint8_t *data, uint16_t len)
{
	if (!connected || !current_conn || !data || len == 0) {
		return;
	}

	int ret = -ENOMEM;

	/* Retry up to 3 times on TX buffer full (-ENOMEM) */
	for (int attempt = 0; attempt < 3; attempt++) {
		ret = bt_nus_send(current_conn, data, len);
		if (ret != -ENOMEM) {
			break;
		}
		k_msleep(10);
	}

	if (ret) {
		LOG_WRN("NUS raw send failed: %d (dropped %u bytes)", ret, len);
	}
}
```

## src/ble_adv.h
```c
/*
 * CoMotion Tracker — BLE Advertising Module
 *
 * Builds and broadcasts a 27-byte manufacturer-specific advertising packet.
 * The companion app reads this via passive BLE scanning (no connection needed).
 *
 * GPS coordinates are absolute int32 values in deci-microdegrees (×10⁷),
 * so the app just divides by 10000000.0 — no field-center needed.
 *
 * Also manages advertising parameters (normal vs focus mode) and
 * NUS (Nordic UART Service) for commands.
 */

#ifndef BLE_ADV_H
#define BLE_ADV_H

#include <stdint.h>
#include <stdbool.h>
#include <zephyr/bluetooth/conn.h>

/*
 * 27-byte BLE broadcast packet
 *
 * Transmitted as manufacturer-specific data in a Coded PHY extended
 * advertising set.  The app decodes GPS by dividing int32 by 10⁷.
 */
struct ble_packet {
	uint8_t  status_flags;    /* Byte 0:  bitfield */
	uint8_t  battery_pct;     /* Byte 1:  0–100 */
	uint8_t  intensity_1s;    /* Byte 2:  min(current×100, 255) */
	uint8_t  intensity_1min;  /* Byte 3:  min(1min×100, 255) */
	uint16_t intensity_10min; /* Byte 4-5: LE, min(avg×1000, 65535) */
	uint8_t  speed_now;       /* Byte 6:  min(km/h×2, 255) */
	uint8_t  speed_max;       /* Byte 7:  min(maxKmh×2, 255) */
	uint8_t  impact_count;    /* Byte 8:  session total */
	uint8_t  gps_status;      /* Byte 9:  (age<<4) | sats */
	uint16_t move_count;      /* Byte 10-11: LE */
	uint16_t session_seconds; /* Byte 12-13: LE, 0 if not logging */
	uint8_t  audio_peak;      /* Byte 14: min(rawPeak/128, 255) */
	int32_t  latitude;        /* Byte 15-18: LE, deci-microdeg (÷10⁷→°) */
	int32_t  longitude;       /* Byte 19-22: LE, deci-microdeg (÷10⁷→°) */
	uint16_t bearing;         /* Byte 23-24: LE, ×10 (0–3600 = 0.0–360.0°) */
	uint8_t  hdop;            /* Byte 25: ×10 (0–255 = 0.0–25.5 HDOP) */
	uint8_t  fix_quality;     /* Byte 26: 0=none,1=SPS,2=DGNSS,3=PPS,4=RTK */
	uint8_t  seq;             /* Byte 27: rolling sequence number (0-255) */
} __packed;

/* Status flag bits */
#define STATUS_LOGGING    0x01
#define STATUS_GPS_FIX    0x02
#define STATUS_BATT_LOW   0x04
#define STATUS_IMPACT     0x08
#define STATUS_CONNECTED  0x10
#define STATUS_FOCUS      0x20

/* GPS no-fix sentinel — app checks: if (lat == GPS_NO_FIX) → no position */
#define GPS_NO_FIX        0x7FFFFFFF

/**
 * Initialize BLE: enable Bluetooth, configure NUS, start advertising.
 * NUS received callback will be set to the provided handler.
 *
 * @param rx_cb  Function called when data received over NUS
 * @return 0 on success, negative errno on failure
 */
int ble_adv_init(void (*rx_cb)(struct bt_conn *, const uint8_t *, uint16_t));

/**
 * Update the advertising packet with current sensor data.
 * Call at 5 Hz (normal) or 10 Hz (focus mode).
 *
 * @param pkt  Pointer to fully-populated 27-byte packet struct
 */
void ble_adv_update(const struct ble_packet *pkt);

/**
 * Enable focus mode: 100ms advertising interval, auto-expires in 60s.
 */
void ble_adv_set_focus(bool enable);

/** Check if focus mode is currently active. */
bool ble_adv_is_focus(void);

/** Check if a BLE central is connected. */
bool ble_adv_is_connected(void);

/** Get the current connection (NULL if none). */
struct bt_conn *ble_adv_get_conn(void);

/**
 * Send data over NUS (chunked ≤20 bytes, 5ms inter-chunk delay).
 *
 * @param msg  Null-terminated string to send
 */
void ble_adv_nus_send(const char *msg);

/**
 * Send raw binary data over NUS (for file transfer).
 * Sends in one call; caller must ensure len ≤ NUS MTU (≤240 bytes).
 *
 * @param data  Pointer to raw bytes
 * @param len   Number of bytes to send
 */
void ble_adv_nus_send_raw(const uint8_t *data, uint16_t len);

#endif /* BLE_ADV_H */
```

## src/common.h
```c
/*
 * ═══════════════════════════════════════════════════════════════
 * CoMotion Tracker — Common Definitions
 * ═══════════════════════════════════════════════════════════════
 */
#ifndef COMOTION_COMMON_H
#define COMOTION_COMMON_H

#include <zephyr/kernel.h>
#include <stdint.h>
#include <stdbool.h>

#define FIRMWARE_VERSION "3.0.0"
#define DEVICE_NAME      "CoMotion"

/* ─── Field center (GPS reference for BLE position encoding) ─── */
#define FIELD_CENTER_LAT  (-25.7479f)
#define FIELD_CENTER_LNG  ( 28.2293f)

/* ─── Sampling rates ─── */
#define IMU_SAMPLE_RATE_HZ      104
#define AUDIO_RMS_RATE_HZ       10
#define GPS_TIMEOUT_MS          2000
#define BLE_ADV_UPDATE_MS       500
#define INTENSITY_SAMPLE_HZ     2
#define BATTERY_READ_INTERVAL_S 30

/* ─── Audio impact detection (dual-trigger) ─── */
#define AUDIO_IMPACT_THRESHOLD   8.0f
#define AUDIO_IMPACT_MIN_PEAK    3000
#define AUDIO_BASELINE_ALPHA     0.005f
#define AUDIO_IMPACT_DEBOUNCE_MS 3000
#define IMPACT_ACCEL_THRESHOLD   3.0f
#define IMPACT_CONFIRM_WINDOW_MS 200

/* ─── Intensity calculation ─── */
#define INTENSITY_ACCEL_WEIGHT  0.7f
#define INTENSITY_GYRO_WEIGHT   0.3f
#define INTENSITY_GYRO_SCALE    100.0f
#define INTENSITY_EMA_FAST      0.019f
#define INTENSITY_EMA_SLOW      0.00032f
#define INTENSITY_HISTORY_SEC   600
#define INTENSITY_HISTORY_SIZE  (INTENSITY_HISTORY_SEC * INTENSITY_SAMPLE_HZ)

/* ─── BLE ─── */
#define BLE_MANUFACTURER_ID     0xFFFF
#define BLE_ADV_INTERVAL_NORMAL 500
#define BLE_ADV_INTERVAL_FOCUS  100
#define IMPACT_FLAG_DURATION_MS 2000
#define ADV_DATA_LEN            27  /* v2.1: 27-byte payload */

/* ─── Status flags (byte 0 of advertising data) ─── */
#define STATUS_FLAG_LOGGING     0x01
#define STATUS_FLAG_GPS_FIX     0x02
#define STATUS_FLAG_LOW_BATTERY 0x04
#define STATUS_FLAG_IMPACT      0x08
#define STATUS_FLAG_BLE_CONN    0x10
#define STATUS_FLAG_FOCUS_MODE  0x20

/* ─── SD Card ─── */
#define SD_BUFFER_SIZE          4096
#define SD_FLUSH_INTERVAL_MS    5000

/* ─── Shared IMU reading ─── */
struct imu_reading {
	float ax, ay, az;   /* Accelerometer (g) */
	float gx, gy, gz;   /* Gyroscope (dps, calibration applied) */
};

/* ─── GPS data ─── */
struct gps_data {
	float    latitude;
	float    longitude;
	float    speed;       /* km/h */
	float    course;      /* degrees */
	int      satellites;
	int64_t  last_update; /* k_uptime_get() ms */
	bool     valid;
};

/* ─── Global state ─── */
extern struct imu_reading g_imu;
extern struct gps_data    g_gps;
extern volatile bool      g_is_logging;
extern float              g_battery_voltage;
extern volatile float     g_audio_rms;
extern volatile int       g_audio_peak;
extern volatile int       g_audio_zcr;
extern volatile float     g_audio_baseline;

/* ─── Session stats ─── */
extern float    g_max_speed_session;
extern uint8_t  g_impact_count;
extern uint16_t g_move_count;
extern int64_t  g_log_start_time;
extern uint32_t g_sample_count;

#endif /* COMOTION_COMMON_H */
```

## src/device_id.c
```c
/*
 * CoMotion Tracker — Device Identity Module
 *
 * Uses nRF52840 FICR (Factory Information Configuration Registers)
 * which are programmed at the factory and unique per chip.
 *
 * FICR.DEVICEID[0] and FICR.DEVICEID[1] are 32-bit values.
 * We XOR them to get a single 32-bit hash, then format as hex.
 */

#include <zephyr/kernel.h>
#include <zephyr/logging/log.h>
#include <soc.h>
#include <stdio.h>
#include <string.h>

#include "device_id.h"

LOG_MODULE_REGISTER(device_id, CONFIG_LOG_DEFAULT_LEVEL);

static uint32_t dev_id_raw;
static char dev_id_full_str[9];   /* "A3F7B2C1\0" */
static char dev_id_short_str[5];  /* "A3F7\0" */
static bool initialized;

void device_id_init(void)
{
	/* Read factory-programmed device ID registers */
	uint32_t id0 = NRF_FICR->DEVICEID[0];
	uint32_t id1 = NRF_FICR->DEVICEID[1];

	/* XOR to mix both words into one 32-bit value */
	dev_id_raw = id0 ^ id1;

	/* Format as uppercase hex */
	snprintf(dev_id_full_str, sizeof(dev_id_full_str),
		 "%08X", dev_id_raw);

	/* Short suffix = first 4 chars (most significant bytes) */
	memcpy(dev_id_short_str, dev_id_full_str, 4);
	dev_id_short_str[4] = '\0';

	initialized = true;

	LOG_INF("Device ID: %s (FICR: %08x ^ %08x)", dev_id_full_str, id0, id1);
}

const char *device_id_full(void)
{
	if (!initialized) {
		return "00000000";
	}
	return dev_id_full_str;
}

const char *device_id_short(void)
{
	if (!initialized) {
		return "0000";
	}
	return dev_id_short_str;
}

uint32_t device_id_raw_value(void)
{
	return dev_id_raw;
}
```

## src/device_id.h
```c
/*
 * CoMotion Tracker — Device Identity Module
 *
 * Reads the nRF52840's factory-programmed FICR.DEVICEID registers
 * to produce a stable, unique 8-char hex ID per physical chip.
 *
 * Used for: BLE device name suffix, CSV header metadata,
 * BLE packet identification, and player assignment in the app.
 */

#ifndef DEVICE_ID_H
#define DEVICE_ID_H

#include <stdint.h>

/**
 * Read FICR and compute device identity.
 * Must be called once at boot, before BLE or SD card init.
 */
void device_id_init(void);

/**
 * Get the full 8-char hex device ID (e.g. "A3F7B2C1").
 * Null-terminated, always uppercase.
 */
const char *device_id_full(void);

/**
 * Get the short 4-char device ID suffix (e.g. "A3F7").
 * Used for BLE name: "CoMotion-A3F7"
 */
const char *device_id_short(void);

/**
 * Get the raw 4-byte device ID value.
 */
uint32_t device_id_raw_value(void);

#endif /* DEVICE_ID_H */
```
